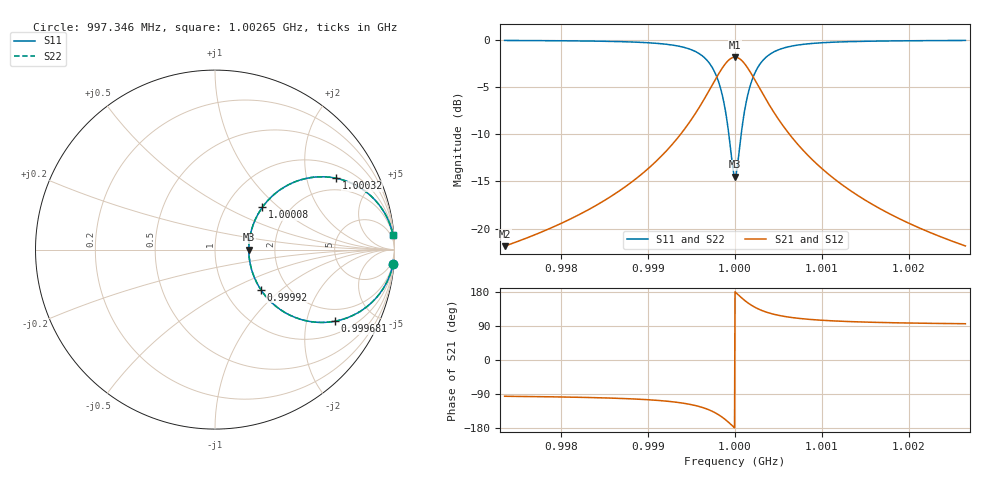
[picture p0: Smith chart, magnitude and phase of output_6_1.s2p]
! File generated for n1 = 6, n2 = 1
! b1 = 2.154435
! b2 = 2.154435
! Q0 = 10000.000000
! f0 = 1000000000.000000
! n = 1001
! rel_span = 10.000000
# Hz S RI R 50
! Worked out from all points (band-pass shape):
!   1001 points, 997.346 MHz to 1.00265 GHz, reference 50 ohm
!   highest |S21| = -1.81 dB at 1 GHz (marker M1); lowest = -21.9 dB at 997.346 MHz (marker M2)
!   |S21| within 3 dB of the highest: 999.7352 MHz to 1.000265 GHz (529.6 kHz wide, 0.053 % of centre)
!   lowest |S11| = -14.5 dB at 1 GHz (marker M3), VSWR 1.46, Z = 73.2 + j0 ohm
!   |S11| at or under -10 dB: 999.9289 MHz to 1.000071 GHz (142.2 kHz wide, 0.0142 % of centre)
!   |S22| runs from -14.5 to 0.0 dB; largest |S21 - S12| = 0
!   S11 on the Smith chart (normalised r, x): 997.346 MHz: 1, -25; 999.681 MHz: 1.46, -2.96; 999.92 MHz: 1.46, -0.74; 1.00008 GHz: 1.46, +0.79; 1.00032 GHz: 1.46, +3.01; 1.00265 GHz: 1, +25
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9.973456e8  0.992 -0.0803  -0.00801 -0.0803  -0.00801 -0.0803  0.992 -0.0803
9.982321e8  0.9821 -0.1191  -0.0179 -0.1191  -0.0179 -0.1191  0.9821 -0.1191
9.987206e8  0.9665 -0.1613  -0.0335 -0.1613  -0.0335 -0.1613  0.9665 -0.1613
9.991187e8  0.9325 -0.2241  -0.0675 -0.2241  -0.0675 -0.2241  0.9325 -0.2241
9.994585e8  0.8428 -0.3207  -0.1572 -0.3207  -0.1572 -0.3207  0.8428 -0.3207
9.995806e8  0.7679 -0.3667  -0.2321 -0.3667  -0.2321 -0.3667  0.7679 -0.3667
9.996815e8  0.6674 -0.3992  -0.3326 -0.3992  -0.3326 -0.3992  0.6674 -0.3992
9.998195e8  0.445 -0.3774  -0.555 -0.3774  -0.555 -0.3774  0.445 -0.3774
9.998726e8  0.3404 -0.3166  -0.6596 -0.3166  -0.6596 -0.3166  0.3404 -0.3166
9.999204e8  0.2554 -0.2234  -0.7446 -0.2234  -0.7446 -0.2234  0.2554 -0.2234
9.999735e8  0.1964 -0.0804  -0.8036 -0.0804  -0.8036 -0.0804  0.1964 -0.0804
1e9  0.1884 0  -0.8116 0  -0.8116 0  0.1884 0
1.000027e9  0.1964 0.0804  -0.8036 0.0804  -0.8036 0.0804  0.1964 0.0804
1.000085e9  0.2637 0.2356  -0.7363 0.2356  -0.7363 0.2356  0.2637 0.2356
1.000133e9  0.3507 0.3246  -0.6493 0.3246  -0.6493 0.3246  0.3507 0.3246
1.000186e9  0.4552 0.3813  -0.5448 0.3813  -0.5448 0.3813  0.4552 0.3813
1.000324e9  0.6738 0.3979  -0.3262 0.3979  -0.3262 0.3979  0.6738 0.3979
1.000547e9  0.8451 0.3189  -0.1549 0.3189  -0.1549 0.3189  0.8451 0.3189
1.000887e9  0.9332 0.2231  -0.0668 0.2231  -0.0668 0.2231  0.9332 0.2231
1.001285e9  0.9667 0.1609  -0.0333 0.1609  -0.0333 0.1609  0.9667 0.1609
1.001773e9  0.9822 0.1189  -0.0178 0.1189  -0.0178 0.1189  0.9822 0.1189
1.002654e9  0.9919 0.0805  -0.00806 0.0805  -0.00806 0.0805  0.9919 0.0805
